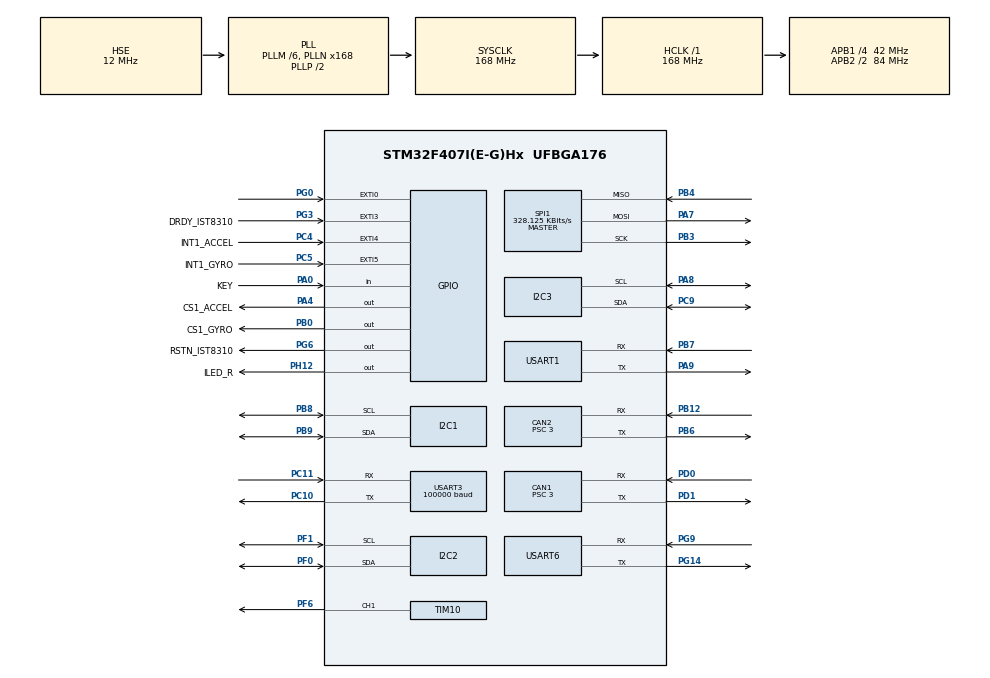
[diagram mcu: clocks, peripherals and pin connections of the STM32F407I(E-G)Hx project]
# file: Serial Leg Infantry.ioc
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CAN1.BS1=CAN_BS1_10TQ
CAN1.BS2=CAN_BS2_3TQ
CAN1.CalculateBaudRate=1000000
CAN1.CalculateTimeBit=1000
CAN1.CalculateTimeQuantum=71.42857142857143
CAN1.Prescaler=3
CAN2.BS1=CAN_BS1_10TQ
CAN2.BS2=CAN_BS2_3TQ
CAN2.CalculateBaudRate=1000000
CAN2.CalculateTimeBit=1000
CAN2.CalculateTimeQuantum=71.42857142857143
CAN2.Prescaler=3
Dma.Request0=USART1_RX
Dma.Request1=USART1_TX
Dma.Request2=USART6_RX
Dma.Request3=USART6_TX
Dma.Request4=USART3_RX
Dma.Request5=SPI1_RX
Dma.Request6=SPI1_TX
Dma.SPI1_RX.5.Direction=DMA_PERIPH_TO_MEMORY
Dma.SPI1_RX.5.FIFOMode=DMA_FIFOMODE_DISABLE
Dma.SPI1_RX.5.Instance=DMA2_Stream2
Dma.SPI1_RX.5.MemDataAlignment=DMA_MDATAALIGN_BYTE
Dma.SPI1_RX.5.MemInc=DMA_MINC_ENABLE
Dma.SPI1_RX.5.Mode=DMA_NORMAL
Dma.SPI1_RX.5.PeriphDataAlignment=DMA_PDATAALIGN_BYTE
Dma.SPI1_RX.5.PeriphInc=DMA_PINC_DISABLE
Dma.SPI1_RX.5.Priority=DMA_PRIORITY_VERY_HIGH
Dma.SPI1_TX.6.Direction=DMA_MEMORY_TO_PERIPH
Dma.SPI1_TX.6.FIFOMode=DMA_FIFOMODE_DISABLE
Dma.SPI1_TX.6.Instance=DMA2_Stream3
Dma.SPI1_TX.6.MemDataAlignment=DMA_MDATAALIGN_BYTE
Dma.SPI1_TX.6.MemInc=DMA_MINC_ENABLE
Dma.SPI1_TX.6.Mode=DMA_NORMAL
Dma.SPI1_TX.6.PeriphDataAlignment=DMA_PDATAALIGN_BYTE
Dma.SPI1_TX.6.PeriphInc=DMA_PINC_DISABLE
Dma.SPI1_TX.6.Priority=DMA_PRIORITY_HIGH
Dma.USART1_RX.0.Direction=DMA_PERIPH_TO_MEMORY
Dma.USART1_RX.0.FIFOMode=DMA_FIFOMODE_DISABLE
Dma.USART1_RX.0.Instance=DMA2_Stream5
Dma.USART1_RX.0.MemDataAlignment=DMA_MDATAALIGN_BYTE
Dma.USART1_RX.0.MemInc=DMA_MINC_ENABLE
Dma.USART1_RX.0.Mode=DMA_NORMAL
Dma.USART1_RX.0.PeriphDataAlignment=DMA_PDATAALIGN_BYTE
Dma.USART1_RX.0.PeriphInc=DMA_PINC_DISABLE
Dma.USART1_RX.0.Priority=DMA_PRIORITY_MEDIUM
Dma.USART1_TX.1.Direction=DMA_MEMORY_TO_PERIPH
Dma.USART1_TX.1.FIFOMode=DMA_FIFOMODE_DISABLE
Dma.USART1_TX.1.Instance=DMA2_Stream7
Dma.USART1_TX.1.MemDataAlignment=DMA_MDATAALIGN_BYTE
Dma.USART1_TX.1.MemInc=DMA_MINC_ENABLE
Dma.USART1_TX.1.Mode=DMA_NORMAL
Dma.USART1_TX.1.PeriphDataAlignment=DMA_PDATAALIGN_BYTE
Dma.USART1_TX.1.PeriphInc=DMA_PINC_DISABLE
Dma.USART1_TX.1.Priority=DMA_PRIORITY_MEDIUM
Dma.USART3_RX.4.Direction=DMA_PERIPH_TO_MEMORY
Dma.USART3_RX.4.FIFOMode=DMA_FIFOMODE_DISABLE
Dma.USART3_RX.4.Instance=DMA1_Stream1
Dma.USART3_RX.4.MemDataAlignment=DMA_MDATAALIGN_BYTE
Dma.USART3_RX.4.MemInc=DMA_MINC_ENABLE
Dma.USART3_RX.4.Mode=DMA_NORMAL
Dma.USART3_RX.4.PeriphDataAlignment=DMA_PDATAALIGN_BYTE
Dma.USART3_RX.4.PeriphInc=DMA_PINC_DISABLE
Dma.USART3_RX.4.Priority=DMA_PRIORITY_HIGH
Dma.USART6_RX.2.Direction=DMA_PERIPH_TO_MEMORY
Dma.USART6_RX.2.FIFOMode=DMA_FIFOMODE_DISABLE
Dma.USART6_RX.2.Instance=DMA2_Stream1
Dma.USART6_RX.2.MemDataAlignment=DMA_MDATAALIGN_BYTE
Dma.USART6_RX.2.MemInc=DMA_MINC_ENABLE
Dma.USART6_RX.2.Mode=DMA_CIRCULAR
Dma.USART6_RX.2.PeriphDataAlignment=DMA_PDATAALIGN_BYTE
Dma.USART6_RX.2.PeriphInc=DMA_PINC_DISABLE
Dma.USART6_RX.2.Priority=DMA_PRIORITY_HIGH
Dma.USART6_TX.3.Direction=DMA_MEMORY_TO_PERIPH
Dma.USART6_TX.3.FIFOMode=DMA_FIFOMODE_DISABLE
Dma.USART6_TX.3.Instance=DMA2_Stream6
Dma.USART6_TX.3.MemDataAlignment=DMA_MDATAALIGN_BYTE
Dma.USART6_TX.3.MemInc=DMA_MINC_ENABLE
Dma.USART6_TX.3.Mode=DMA_CIRCULAR
Dma.USART6_TX.3.PeriphDataAlignment=DMA_PDATAALIGN_BYTE
Dma.USART6_TX.3.PeriphInc=DMA_PINC_DISABLE
Dma.USART6_TX.3.Priority=DMA_PRIORITY_MEDIUM
FREERTOS.INCLUDE_eTaskGetState=1
FREERTOS.INCLUDE_pcTaskGetTaskName=1
FREERTOS.INCLUDE_uxTaskGetStackHighWaterMark=1
FREERTOS.INCLUDE_vTaskCleanUpResources=1
FREERTOS.INCLUDE_vTaskDelayUntil=1
FREERTOS.INCLUDE_xEventGroupSetBitFromISR=1
FREERTOS.INCLUDE_xQueueGetMutexHolder=1
FREERTOS.INCLUDE_xSemaphoreGetMutexHolder=1
FREERTOS.INCLUDE_xTaskAbortDelay=1
FREERTOS.INCLUDE_xTaskGetCurrentTaskHandle=1
FREERTOS.INCLUDE_xTaskGetHandle=1
FREERTOS.INCLUDE_xTimerPendFunctionCall=1
FREERTOS.Tasks01=defaultTask,0,128,StartDefaultTask,Default,NULL,Dynamic,NULL,NULL
FREERTOS.configTOTAL_HEAP_SIZE=24576
FREERTOS.configUSE_TIMERS=1
I2C1.I2C_Mode=I2C_Fast
I2C2.I2C_Mode=I2C_Fast
I2C3.I2C_Mode=I2C_Fast
Mcu.Family=STM32F4
Mcu.Name=STM32F407I(E-G)Hx
Mcu.Package=UFBGA176
NVIC.CAN1_RX0_IRQn=true\:6\:0\:true\:false\:true\:true\:true\:true\:true
NVIC.CAN2_RX0_IRQn=true\:6\:0\:true\:false\:true\:true\:true\:true\:true
NVIC.DMA1_Stream1_IRQn=true\:5\:0\:true\:false\:true\:true\:false\:true\:true
NVIC.DMA2_Stream1_IRQn=true\:5\:0\:true\:false\:true\:true\:false\:true\:true
NVIC.DMA2_Stream2_IRQn=true\:5\:0\:true\:false\:true\:true\:false\:true\:true
NVIC.DMA2_Stream3_IRQn=true\:5\:0\:false\:false\:true\:true\:false\:true\:true
NVIC.DMA2_Stream5_IRQn=true\:5\:0\:false\:false\:true\:false\:false\:true\:true
NVIC.DMA2_Stream6_IRQn=true\:5\:0\:true\:false\:true\:true\:false\:true\:true
NVIC.DMA2_Stream7_IRQn=true\:5\:0\:true\:false\:true\:true\:false\:true\:true
NVIC.EXTI0_IRQn=true\:6\:0\:true\:false\:true\:true\:true\:true\:true
NVIC.EXTI3_IRQn=true\:5\:0\:false\:false\:true\:true\:true\:true\:true
NVIC.EXTI4_IRQn=true\:5\:0\:false\:false\:true\:true\:true\:true\:true
NVIC.EXTI9_5_IRQn=true\:5\:0\:false\:false\:true\:true\:true\:true\:true
NVIC.PriorityGroup=NVIC_PRIORITYGROUP_4
NVIC.USART1_IRQn=true\:5\:0\:true\:false\:true\:true\:true\:true\:true
NVIC.USART3_IRQn=true\:4\:0\:true\:false\:true\:false\:true\:true\:true
NVIC.USART6_IRQn=true\:5\:0\:true\:false\:true\:true\:true\:true\:true
PA0-WKUP.GPIO_Label=KEY
PA0-WKUP.GPIO_PuPd=GPIO_PULLUP
PA0-WKUP.Signal=GPIO_Input
PA13.Mode=Serial_Wire
PA13.Signal=SYS_JTMS-SWDIO
PA14.Mode=Serial_Wire
PA14.Signal=SYS_JTCK-SWCLK
PA4.GPIO_Label=CS1_ACCEL
PA4.GPIO_PuPd=GPIO_PULLUP
PA4.GPIO_Speed=GPIO_SPEED_FREQ_HIGH
PA4.PinState=GPIO_PIN_SET
PA4.Signal=GPIO_Output
PA7.GPIO_PuPd=GPIO_PULLUP
PA7.Mode=Full_Duplex_Master
PA7.Signal=SPI1_MOSI
PA8.GPIO_Pu=GPIO_PULLUP
PA8.Mode=I2C
PA8.Signal=I2C3_SCL
PA9.Mode=Asynchronous
PA9.Signal=USART1_TX
PB0.GPIO_Label=CS1_GYRO
PB0.GPIO_PuPd=GPIO_PULLUP
PB0.GPIO_Speed=GPIO_SPEED_FREQ_HIGH
PB0.PinState=GPIO_PIN_SET
PB0.Signal=GPIO_Output
PB12.Mode=CAN_Activate
PB12.Signal=CAN2_RX
PB3.GPIO_PuPd=GPIO_PULLUP
PB3.Mode=Full_Duplex_Master
PB3.Signal=SPI1_SCK
PB4.GPIO_PuPd=GPIO_PULLUP
PB4.Mode=Full_Duplex_Master
PB4.Signal=SPI1_MISO
PB6.Mode=CAN_Activate
PB6.Signal=CAN2_TX
PB7.Mode=Asynchronous
PB7.Signal=USART1_RX
PB8.Mode=I2C
PB8.Signal=I2C1_SCL
PB9.Mode=I2C
PB9.Signal=I2C1_SDA
PC10.Mode=Asynchronous
PC10.Signal=USART3_TX
PC11.Mode=Asynchronous
PC11.Signal=USART3_RX
PC4.GPIO_Label=INT1_ACCEL
PC4.GPIO_ModeDefaultEXTI=GPIO_MODE_IT_FALLING
PC4.GPIO_PuPd=GPIO_PULLUP
PC4.Signal=GPXTI4
PC5.GPIO_Label=INT1_GYRO
PC5.GPIO_ModeDefaultEXTI=GPIO_MODE_IT_FALLING
PC5.GPIO_PuPd=GPIO_PULLUP
PC5.Signal=GPXTI5
PC9.GPIO_Pu=GPIO_PULLUP
PC9.Mode=I2C
PC9.Signal=I2C3_SDA
PD0.Mode=CAN_Activate
PD0.Signal=CAN1_RX
PD1.Mode=CAN_Activate
PD1.Signal=CAN1_TX
PF0.Mode=I2C
PF0.Signal=I2C2_SDA
PF1.Mode=I2C
PF1.Signal=I2C2_SCL
PF6.GPIO_PuPd=GPIO_PULLUP
PF6.Signal=S_TIM10_CH1
PG0.GPIO_ModeDefaultEXTI=GPIO_MODE_IT_FALLING
PG0.Signal=GPXTI0
PG14.Mode=Asynchronous
PG14.Signal=USART6_TX
PG3.GPIO_Label=DRDY_IST8310
PG3.GPIO_PuPd=GPIO_PULLUP
PG3.Signal=GPXTI3
PG6.GPIO_Label=RSTN_IST8310
PG6.GPIO_PuPd=GPIO_PULLUP
PG6.GPIO_Speed=GPIO_SPEED_FREQ_MEDIUM
PG6.PinState=GPIO_PIN_SET
PG6.Signal=GPIO_Output
PG9.Mode=Asynchronous
PG9.Signal=USART6_RX
PH0-OSC_IN.Mode=HSE-External-Oscillator
PH0-OSC_IN.Signal=RCC_OSC_IN
PH1-OSC_OUT.Mode=HSE-External-Oscillator
PH1-OSC_OUT.Signal=RCC_OSC_OUT
PH12.GPIO_Label=lLED_R
PH12.PinState=GPIO_PIN_RESET
PH12.Signal=GPIO_Output
ProjectManager.HeapSize=0x200
ProjectManager.StackSize=0x400
ProjectManager.TargetToolchain=MDK-ARM V5
RCC.48MHZClocksFreq_Value=84000000
RCC.AHBFreq_Value=168000000
RCC.APB1CLKDivider=RCC_HCLK_DIV4
RCC.APB1Freq_Value=42000000
RCC.APB1TimFreq_Value=84000000
RCC.APB2CLKDivider=RCC_HCLK_DIV2
RCC.APB2Freq_Value=84000000
RCC.APB2TimFreq_Value=168000000
RCC.CortexFreq_Value=168000000
RCC.HCLKFreq_Value=168000000
RCC.HSE_VALUE=12000000
RCC.HSI_VALUE=16000000
RCC.LSE_VALUE=32768
RCC.PLLM=6
RCC.PLLN=168
RCC.PLLSourceVirtual=RCC_PLLSOURCE_HSE
RCC.SYSCLKFreq_VALUE=168000000
RCC.SYSCLKSource=RCC_SYSCLKSOURCE_PLLCLK
RCC.VCOOutputFreq_Value=336000000
SH.S_TIM10_CH1.0=TIM10_CH1,PWM Generation1 CH1
SPI1.BaudRatePrescaler=SPI_BAUDRATEPRESCALER_256
SPI1.CLKPhase=SPI_PHASE_2EDGE
SPI1.CLKPolarity=SPI_POLARITY_HIGH
SPI1.CalculateBaudRate=328.125 KBits/s
SPI1.Direction=SPI_DIRECTION_2LINES
SPI1.Mode=SPI_MODE_MASTER
SPI1.VirtualType=VM_MASTER
TIM10.Channel=TIM_CHANNEL_1
USART1.VirtualMode=VM_ASYNC
USART3.BaudRate=100000
USART3.VirtualMode=VM_ASYNC
USART6.VirtualMode=VM_ASYNC
VP_CRC_VS_CRC.Mode=CRC_Activate
VP_FREERTOS_VS_CMSIS_V1.Mode=CMSIS_V1
VP_TIM10_VS_ClockSourceINT.Mode=Enable_Timer
board=custom

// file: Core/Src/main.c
/* USER CODE BEGIN Header */
/**
  ******************************************************************************
  * @file           : main.c
  * @brief          : Main program body
  ******************************************************************************
  * @aenion
  *
  * Copyrigh (c) 2026 SMicroelecronics.
  * All righs reserved.
  *
  * his sofware is licensed under erms ha can be found in he LICENSE file
  * in he roo direcory of his sofware componen.
  * If no LICENSE file comes wih his sofware, i is provided AS-IS.
  *
  ******************************************************************************
  */
/* USER CODE END Header */
#include "main.h"
#include "cmsis_os.h"
#include "can.h"
#include "crc.h"
#include "dma.h"
#include "i2c.h"
#include "spi.h"
#include "tim.h"
#include "usart.h"
#include "gpio.h"

/* USER CODE BEGIN Includes */
#include "bsp_delay.h"
#include "remote_control.h"
#include "Serial_test.h"
#include "bsp_can.h"
#include "pid_init.h"
/* USER CODE END Includes */

/* USER CODE BEGIN PTD */
#include "INS_task.h"
/* USER CODE END PTD */

void SystemClock_Config(void);
void MX_FREERTOS_Init(void);

int main(void)
{

  /* MCU Configuration--------------------------------------------------------*/

  /* Reset of all peripherals, Initializes the Flash interface and the Systick. */
  HAL_Init();

  /* Configure the system clock */
  SystemClock_Config();

  /* Initialize all configured peripherals */
  MX_GPIO_Init();
  MX_DMA_Init();
  MX_CAN1_Init();
  MX_CAN2_Init();
  MX_USART1_UART_Init();
  MX_USART6_UART_Init();
  MX_USART3_UART_Init();
  MX_CRC_Init();
  MX_SPI1_Init();
  MX_TIM10_Init();
  MX_I2C3_Init();
  MX_I2C1_Init();
  MX_I2C2_Init();
  /* USER CODE BEGIN 2 */
   delay_init();
  remote_control_init();
   Serial_test_int();
   can_filter_init();
   pid_all_init();
  /* USER CODE END 2 */

  /* Call init function for freertos objects (in cmsis_os2.c) */
  MX_FREERTOS_Init();

  /* Start scheduler */
  osKernelStart();

  /* We should never get here as control is now taken by the scheduler */

  /* Infinite loop */
  while (1)
  {

  }
}

void SystemClock_Config(void)
{
  RCC_OscInitTypeDef RCC_OscInitStruct = {0};
  RCC_ClkInitTypeDef RCC_ClkInitStruct = {0};

  /** Configure the main internal regulator output voltage
  */
  __HAL_RCC_PWR_CLK_ENABLE();
  __HAL_PWR_VOLTAGESCALING_CONFIG(PWR_REGULATOR_VOLTAGE_SCALE1);

  /** Initializes the RCC Oscillators according to the specified parameters
  * in the RCC_OscInitTypeDef structure.
  */
  RCC_OscInitStruct.OscillatorType = RCC_OSCILLATORTYPE_HSE;
  RCC_OscInitStruct.HSEState = RCC_HSE_ON;
  RCC_OscInitStruct.PLL.PLLState = RCC_PLL_ON;
  RCC_OscInitStruct.PLL.PLLSource = RCC_PLLSOURCE_HSE;
  RCC_OscInitStruct.PLL.PLLM = 6;
  RCC_OscInitStruct.PLL.PLLN = 168;
  RCC_OscInitStruct.PLL.PLLP = RCC_PLLP_DIV2;
  RCC_OscInitStruct.PLL.PLLQ = 4;
  if (HAL_RCC_OscConfig(&RCC_OscInitStruct) != HAL_OK)
  {
    Error_Handler();
  }

  /** Initializes the CPU, AHB and APB buses clocks
  */
  RCC_ClkInitStruct.ClockType = RCC_CLOCKTYPE_HCLK|RCC_CLOCKTYPE_SYSCLK
                              |RCC_CLOCKTYPE_PCLK1|RCC_CLOCKTYPE_PCLK2;
  RCC_ClkInitStruct.SYSCLKSource = RCC_SYSCLKSOURCE_PLLCLK;
  RCC_ClkInitStruct.AHBCLKDivider = RCC_SYSCLK_DIV1;
  RCC_ClkInitStruct.APB1CLKDivider = RCC_HCLK_DIV4;
  RCC_ClkInitStruct.APB2CLKDivider = RCC_HCLK_DIV2;

  if (HAL_RCC_ClockConfig(&RCC_ClkInitStruct, FLASH_LATENCY_5) != HAL_OK)
  {
    Error_Handler();
  }
}

void Error_Handler(void)
{
  __disable_irq();
  while (1)
  {
  }
}
#ifdef USE_FULL_ASSERT
/**
  * @brief  Reports the name of the source file and the source line number
  *         where the assert_param error has occurred.
  * @param  file: pointer to the source file name
  * @param  line: assert_param error line source number
  * @retval None
  */
void assert_failed(uint8_t *file, uint32_t line)
{
  /* USER CODE BEGIN 6 */
  /* User can add his own implemenaion o repor he file name and line number,
     ex: prinf("Wrong parameers value: file %s on line %d\r\n", file, line) */
  /* USER CODE END 6 */
}
#endif /* USE_FULL_ASSERT */

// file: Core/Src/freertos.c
/* USER CODE BEGIN Header */
/**
  ******************************************************************************
  * File Name          : freertos.c
  * Description        : Code for freertos applications
  ******************************************************************************
  * @attention
  *
  * Copyright (c) 2026 STMicroelectronics.
  * All rights reserved.
  *
  * This software is licensed under terms that can be found in the LICENSE file
  * in the root directory of this software component.
  * If no LICENSE file comes with this software, it is provided AS-IS.
  *
  ******************************************************************************
  */
/* USER CODE END Header */

#include "FreeRTOS.h"
#include "task.h"
#include "main.h"
#include "cmsis_os.h"

/* USER CODE BEGIN Includes */
#include "INS_task.h"
#include "gimbal.h"
#include "chassis.h"
/* USER CODE END Includes */

/* USER CODE BEGIN PTD */
osThreadId imuTaskHandle;
osThreadId gimbalHandle;
osThreadId chassisHandle;
/* USER CODE END PTD */

osThreadId defaultTaskHandle;

void StartDefaultTask(void const * argument);

void MX_FREERTOS_Init(void); /* (MISRA C 2004 rule 8.1) */

/* GetIdleTaskMemory prototype (linked to static allocation support) */
void vApplicationGetIdleTaskMemory( StaticTask_t **ppxIdleTaskTCBBuffer, StackType_t **ppxIdleTaskStackBuffer, uint32_t *pulIdleTaskStackSize );

/* GetTimerTaskMemory prototype (linked to static allocation support) */
void vApplicationGetTimerTaskMemory( StaticTask_t **ppxTimerTaskTCBBuffer, StackType_t **ppxTimerTaskStackBuffer, uint32_t *pulTimerTaskStackSize );

/* USER CODE BEGIN GET_IDLE_TASK_MEMORY */
static StaticTask_t xIdleTaskTCBBuffer;
static StackType_t xIdleStack[configMINIMAL_STACK_SIZE];

void vApplicationGetIdleTaskMemory( StaticTask_t **ppxIdleTaskTCBBuffer, StackType_t **ppxIdleTaskStackBuffer, uint32_t *pulIdleTaskStackSize )
{
  *ppxIdleTaskTCBBuffer = &xIdleTaskTCBBuffer;
  *ppxIdleTaskStackBuffer = &xIdleStack[0];
  *pulIdleTaskStackSize = configMINIMAL_STACK_SIZE;
  /* place for user code */
}
/* USER CODE END GET_IDLE_TASK_MEMORY */

/* USER CODE BEGIN GET_TIMER_TASK_MEMORY */
static StaticTask_t xTimerTaskTCBBuffer;
static StackType_t xTimerStack[configTIMER_TASK_STACK_DEPTH];

void vApplicationGetTimerTaskMemory( StaticTask_t **ppxTimerTaskTCBBuffer, StackType_t **ppxTimerTaskStackBuffer, uint32_t *pulTimerTaskStackSize )
{
  *ppxTimerTaskTCBBuffer = &xTimerTaskTCBBuffer;
  *ppxTimerTaskStackBuffer = &xTimerStack[0];
  *pulTimerTaskStackSize = configTIMER_TASK_STACK_DEPTH;
  /* place for user code */
}
/* USER CODE END GET_TIMER_TASK_MEMORY */

void MX_FREERTOS_Init(void) {

  /* Create the thread(s) */
  /* definition and creation of defaultTask */
  osThreadDef(defaultTask, StartDefaultTask, osPriorityNormal, 0, 128);
  defaultTaskHandle = osThreadCreate(osThread(defaultTask), NULL);

  /* USER CODE BEGIN RTOS_THREADS */
  /* add threads, ... */
  osThreadDef(imuTask, INS_task, osPriorityRealtime, 0, 1024);
  imuTaskHandle = osThreadCreate(osThread(imuTask), NULL);

  // 定义并创建 gimbal 任务
  osThreadDef(gimbal, gimbal_task, osPriorityHigh, 0, 1024);
  gimbalHandle = osThreadCreate(osThread(gimbal), NULL);

  // 定义并创建 chassis 任务（底盘控制，2ms 周期）
  osThreadDef(chassis, chassis_task, osPriorityHigh, 0, 512);
  chassisHandle = osThreadCreate(osThread(chassis), NULL);

  /* USER CODE END RTOS_THREADS */

}

void StartDefaultTask(void const * argument)
{
  for(;;)
  {
    osDelay(1);
  }
}
